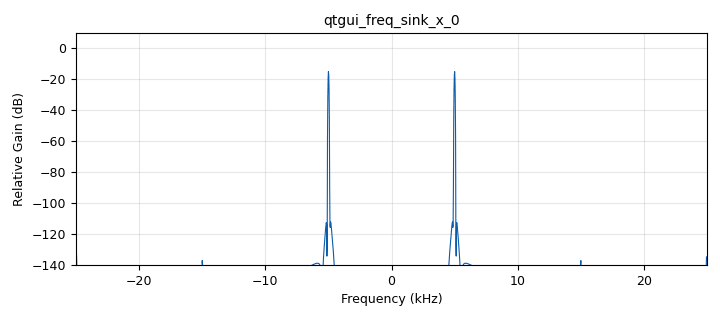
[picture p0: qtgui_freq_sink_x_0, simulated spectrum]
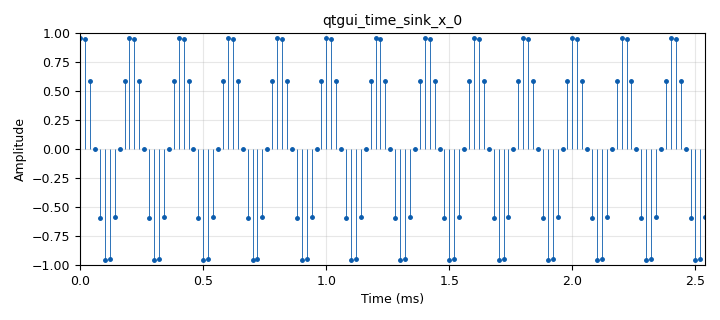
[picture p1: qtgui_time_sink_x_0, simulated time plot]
options:
  parameters:
    author: Lorena_Cardozo_J1B_G1
    generate_options: qt_gui
    id: Segundo_laboratorio
    output_language: python
    title: diag1
  states: {}

blocks:
- name: freq
  id: variable_qtgui_range
  parameters:
    label: Frequency
    start: '1000'
    step: '1000'
    stop: '40000'
    value: '5000'
  states: {}
- name: samp_rate
  id: variable_qtgui_range
  parameters:
    label: frecuencia de muestreo
    start: '1000'
    step: '1000'
    stop: '80000'
    value: '50000'
  states: {}
- name: analog_sig_source_x_1
  id: analog_sig_source_x
  parameters:
    amp: '1'
    freq: freq
    offset: '0'
    phase: '0'
    samp_rate: samp_rate
    type: float
    waveform: analog.GR_SIN_WAVE
  states: {}
- name: blocks_throttle_0
  id: blocks_throttle
  parameters:
    samples_per_second: samp_rate
    type: float
  states: {}
- name: qtgui_freq_sink_x_0
  id: qtgui_freq_sink_x
  parameters:
    bw: samp_rate
    fc: '0'
    fftsize: '2048'
    type: float
  states: {}
- name: qtgui_time_sink_x_0
  id: qtgui_time_sink_x
  parameters:
    size: '128'
    srate: samp_rate
    stemplot: 'True'
    type: float
  states: {}

connections:
- [analog_sig_source_x_1, '0', blocks_throttle_0, '0']
- [blocks_throttle_0, '0', qtgui_freq_sink_x_0, '0']
- [blocks_throttle_0, '0', qtgui_time_sink_x_0, '0']

metadata:
  file_format: 1
